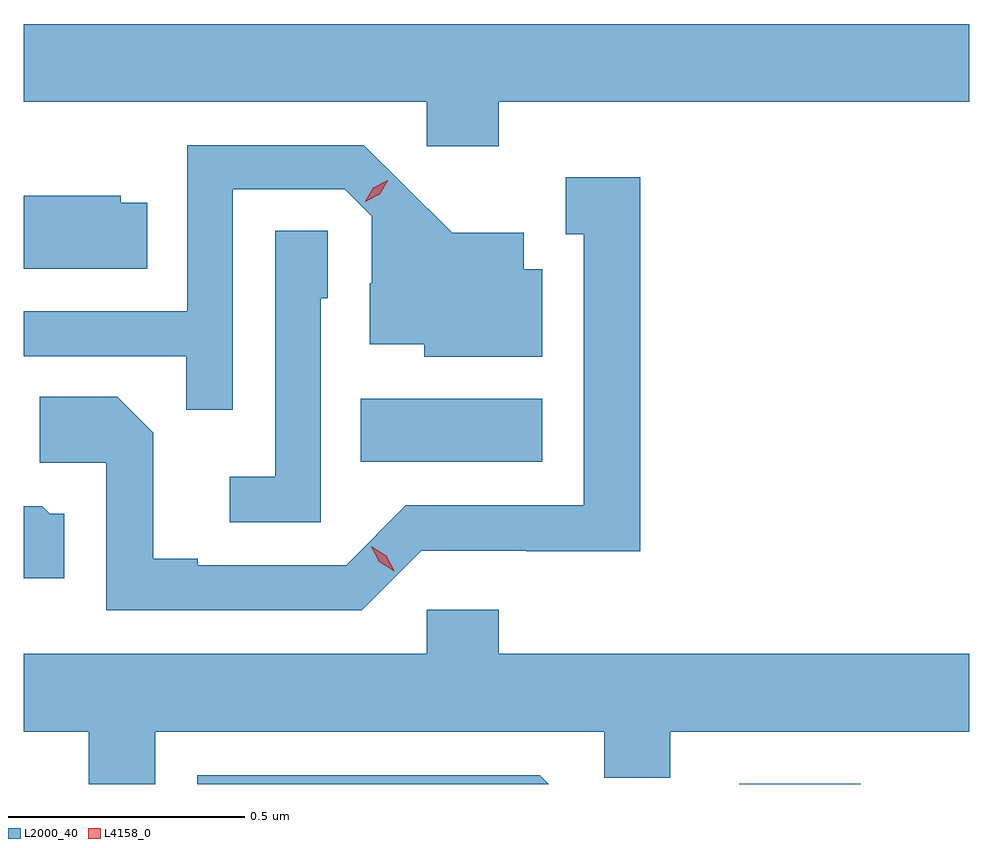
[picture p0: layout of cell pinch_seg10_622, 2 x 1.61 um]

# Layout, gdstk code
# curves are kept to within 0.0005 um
import gdstk
lib = gdstk.Library(unit=1e-6, precision=1e-09)
def R(c, l, rs):  # rectangles x0, y0, x1, y1
    for r in rs: c.add(gdstk.rectangle(r[:2], r[2:], *l))
def P(c, l, *ps):  # polygons
    for p in ps: c.add(gdstk.Polygon(p, *l))
L2000_40 = (2000, 40)
L4158_0 = (4158, 0)

pinch_seg10_622 = lib.new_cell('pinch_seg10_622')
R(pinch_seg10_622, L2000_40, [(354.84,1285.553,355.097,1285.554), (354.04,1286.234,354.424,1286.368)])
P(pinch_seg10_622, L2000_40, [(354.332,1286.996),(355.327,1286.996),(355.327,1287.16),(353.327,1287.16),(353.327,1286.996),(354.18,1286.996),(354.18,1286.901),(354.332,1286.901)],
  [(353.769,1286.811),(354.006,1286.811),(354.063,1286.754),(354.063,1286.612),(354.059,1286.612),(354.059,1286.483),(354.174,1286.483),(354.174,1286.456),(354.424,1286.456),(354.424,1286.641),(354.385,1286.641),(354.385,1286.719),(354.233,1286.719),(354.046,1286.904),(353.673,1286.904),(353.673,1286.553),(353.327,1286.553),(353.327,1286.457),(353.671,1286.457),(353.671,1286.344),(353.769,1286.344)],
  [(354.168,1286.046),(354.39,1286.046),(354.39,1286.045),(354.631,1286.045),(354.631,1286.836),(354.473,1286.836),(354.473,1286.715),(354.512,1286.715),(354.512,1286.142),(354.135,1286.142),(354.009,1286.016),(353.695,1286.016),(353.695,1286.029),(353.601,1286.029),(353.601,1286.296),(353.525,1286.372),(353.361,1286.372),(353.361,1286.232),(353.502,1286.232),(353.502,1285.92),(354.042,1285.92)],
  [(353.588,1286.782),(353.532,1286.782),(353.532,1286.797),(353.327,1286.797),(353.327,1286.642),(353.588,1286.642)],
  [(353.955,1286.58),(353.97,1286.58),(353.97,1286.723),(353.859,1286.723),(353.859,1286.203),(353.763,1286.203),(353.763,1286.106),(353.955,1286.106)],
  [(353.413,1286.124),(353.382,1286.124),(353.366,1286.14),(353.327,1286.14),(353.327,1285.988),(353.413,1285.988)],
  [(353.605,1285.664),(354.555,1285.664),(354.555,1285.566),(354.694,1285.566),(354.694,1285.664),(355.327,1285.664),(355.327,1285.828),(354.332,1285.828),(354.332,1285.921),(354.18,1285.921),(354.18,1285.828),(353.327,1285.828),(353.327,1285.664),(353.465,1285.664),(353.465,1285.553),(353.605,1285.553)],
  [(354.418,1285.572),(353.694,1285.572),(353.694,1285.553),(354.437,1285.553)])
P(pinch_seg10_622, L4158_0, [(354.111,1286.003),(354.079,1286.023),(354.062,1286.055),(354.062,1286.056),(354.062,1286.056),(354.094,1286.036),(354.111,1286.004),(354.111,1286.003)],
  [(354.049,1286.784),(354.049,1286.785),(354.066,1286.814),(354.097,1286.83),(354.097,1286.83),(354.097,1286.829),(354.08,1286.8),(354.049,1286.784)])

lib.write_gds('pinch_seg10_622.gds')
